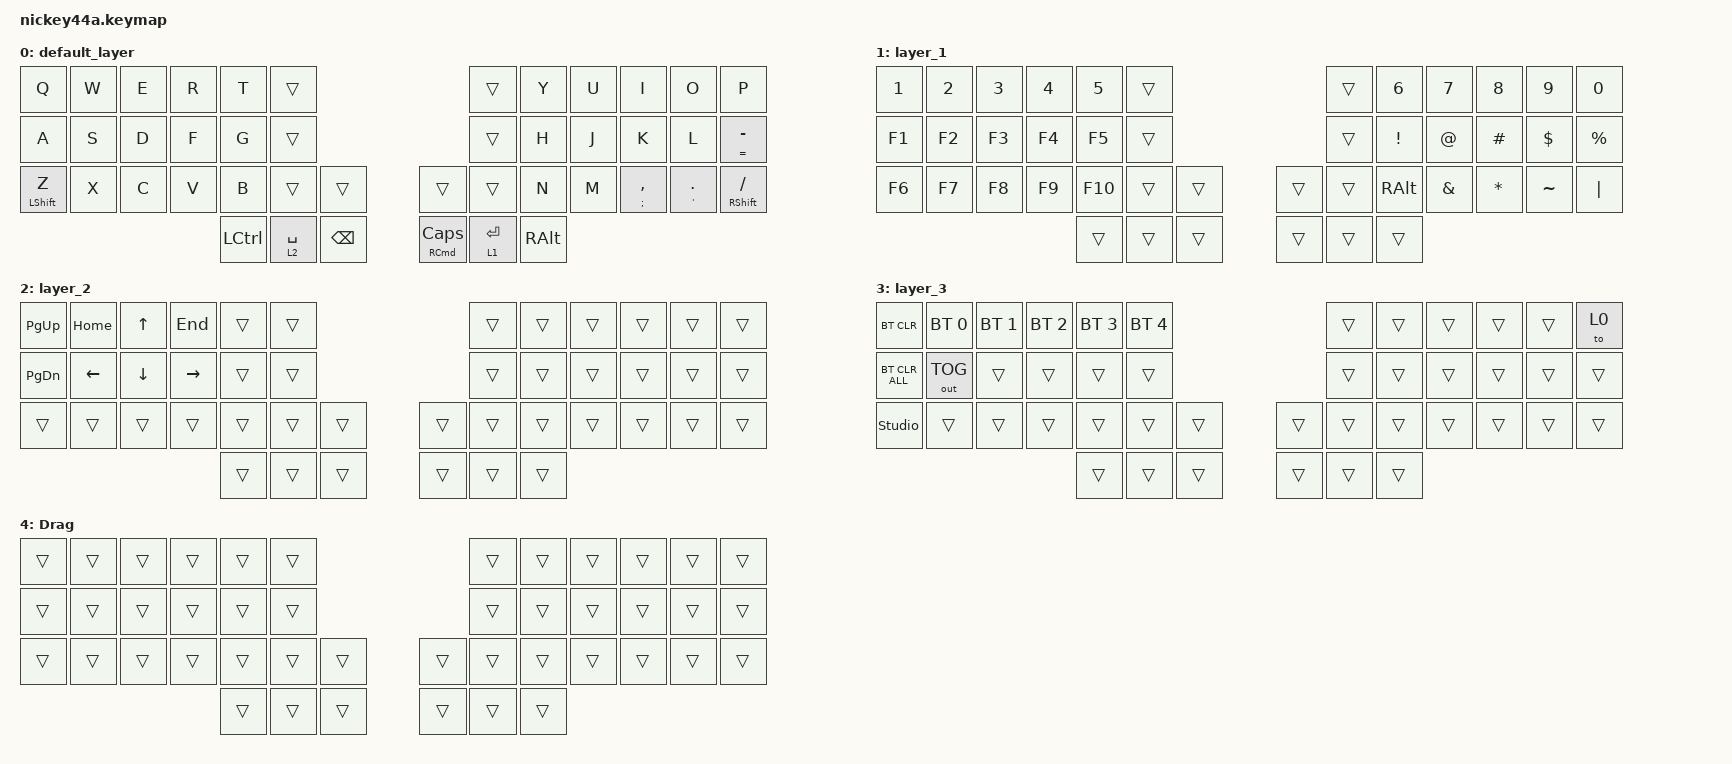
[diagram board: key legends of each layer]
#include <behaviors.dtsi>
#include <dt-bindings/zmk/bt.h>
#include <dt-bindings/zmk/keys.h>
#include <dt-bindings/zmk/outputs.h>

&mt {
    flavor = "balanced";
    quick-tap-ms = <0>;
};

&lt {
    quick-tap-ms = <300>;
    flavor = "balanced";
};

/ {
    combos {
        compatible = "zmk,combos";

        combo_esc {
            bindings = <&kp ESCAPE>;
            key-positions = <0 1>;
        };

        combo_tab {
            bindings = <&kp TAB>;
            key-positions = <12 13>;
        };

        left_p {
            bindings = <&kp LEFT_PARENTHESIS>;
            key-positions = <14 15>;
        };

        l_d {
            bindings = <&kp LA(LC(D))>;
            key-positions = <24 25>;
        };

        c_d {
            bindings = <&kp LA(LC(F))>;
            key-positions = <25 26>;
        };

        r_d {
            bindings = <&kp LA(LC(G))>;
            key-positions = <26 27>;
        };

        f_d {
            bindings = <&kp LA(LC(ENTER))>;
            key-positions = <27 28>;
        };

        cap_1 {
            bindings = <&kp RS(RG(NUMBER_4))>;
            key-positions = <37 36>;
        };

        r_d2 {
            bindings = <&kp LA(LC(T))>;
            key-positions = <10 11>;
        };

        system {
            bindings = <&to 3>;
            key-positions = <38 39 40>;
        };

        right_p {
            bindings = <&kp RIGHT_PARENTHESIS>;
            key-positions = <15 16>;
        };

        /* Y + H + N + Right Alt: right half (central) enters the bootloader. */
        boot_right {
            bindings = <&bootloader>;
            key-positions = <7 19 33 43>;
            timeout-ms = <80>;
        };

        /* T + G + B + Left Ctrl: left half (peripheral) enters the bootloader. */
        boot_left_combo {
            bindings = <&boot_left>;
            key-positions = <4 16 28 38>;
            timeout-ms = <80>;
        };
    };

    macros {
        to_layer_0: to_layer_0 {
            compatible = "zmk,behavior-macro-one-param";
            #binding-cells = <1>;
            bindings = <&to 0 &macro_param_1to1 &kp MACRO_PLACEHOLDER>;
            label = "TO_LAYER_0";
        };

        mission: mission {
            compatible = "zmk,behavior-macro";
            #binding-cells = <0>;
            bindings = <&kp LC(UP_ARROW)>;
            label = "MISSION";
        };

        launch: launch {
            compatible = "zmk,behavior-macro";
            #binding-cells = <0>;
            bindings = <&kp LG(L)>;
            label = "LAUNCH";
        };
    };

    behaviors {
        /*
         * Combos always run on the central (right), so a plain &bootloader
         * there would reset the right half. This sends it to the left
         * peripheral (index 0) instead; the left must be connected.
         */
        boot_left: boot_left {
            compatible = "zmk,behavior-peripheral-invoke";
            #binding-cells = <0>;
            bindings = <&bootloader>;
            peripheral = <0>;
            display-name = "Bootloader (left)";
        };

        lt_to_layer_0: lt_to_layer_0 {
            compatible = "zmk,behavior-hold-tap";
            label = "LAYER_TAP_TO_0";
            bindings = <&mo>, <&to_layer_0>;

            #binding-cells = <2>;
            tapping-term-ms = <200>;
        };
    };

    keymap {
        compatible = "zmk,keymap";

        default_layer {
            bindings = <
&kp Q        &kp W  &kp E  &kp R  &kp T      &trans                                                    &trans       &kp Y          &kp U  &kp I                &kp O                    &kp P
&kp A        &kp S  &kp D  &kp F  &kp G      &trans                                                    &trans       &kp H          &kp J  &kp K                &kp L                    &mt EQUAL MINUS
&mt LSHFT Z  &kp X  &kp C  &kp V  &kp B      &trans       &trans           &trans                      &trans       &kp N          &kp M  &mt SEMICOLON COMMA  &mt SINGLE_QUOTE PERIOD  &mt RIGHT_SHIFT SLASH
                                  &kp LCTRL  &lt 2 SPACE  &kp BACKSPACE    &mt RIGHT_COMMAND CAPSLOCK  &lt 1 ENTER  &kp RIGHT_ALT
            >;
        };

        layer_1 {
            bindings = <
&kp NUMBER_1  &kp NUMBER_2  &kp NUMBER_3  &kp NUMBER_4  &kp N5   &trans                    &trans  &kp NUMBER_6     &kp N7         &kp N8        &kp N9      &kp N0
&kp F1        &kp F2        &kp F3        &kp F4        &kp F5   &trans                    &trans  &kp EXCLAMATION  &kp AT_SIGN    &kp HASH      &kp DOLLAR  &kp PERCENT
&kp F6        &kp F7        &kp F8        &kp F9        &kp F10  &trans  &trans    &trans  &trans  &kp RIGHT_ALT    &kp AMPERSAND  &kp ASTERISK  &kp TILDE   &kp PIPE
                                                        &trans   &trans  &trans    &trans  &trans  &trans
            >;
        };

        layer_2 {
            bindings = <
&kp PG_UP      &kp HOME        &kp UP_ARROW  &kp END    &trans  &trans                    &trans  &trans  &trans  &trans  &trans  &trans
&kp PAGE_DOWN  &kp LEFT_ARROW  &kp DOWN      &kp RIGHT  &trans  &trans                    &trans  &trans  &trans  &trans  &trans  &trans
&trans         &trans          &trans        &trans     &trans  &trans  &trans    &trans  &trans  &trans  &trans  &trans  &trans  &trans
                                                        &trans  &trans  &trans    &trans  &trans  &trans
            >;
        };

        /*
         * System layer, entered with the three left thumb keys (&to 3).
         * P position (&to 0) leaves it; S position toggles USB/BLE output.
         */
        layer_3 {
            bindings = <
&bt BT_CLR      &bt BT_SEL 0  &bt BT_SEL 1  &bt BT_SEL 2  &bt BT_SEL 3  &bt BT_SEL 4                    &trans  &trans  &trans  &trans  &trans  &to 0
&bt BT_CLR_ALL  &out OUT_TOG  &trans        &trans        &trans        &trans                          &trans  &trans  &trans  &trans  &trans  &trans
&studio_unlock  &trans        &trans        &trans        &trans        &trans        &trans    &trans  &trans  &trans  &trans  &trans  &trans  &trans
                                                          &trans        &trans        &trans    &trans  &trans  &trans
            >;
        };

        drag_layer {
            display-name = "Drag";
            bindings = <
&trans  &trans  &trans  &trans  &trans  &trans                    &trans  &trans  &trans  &trans  &trans  &trans
&trans  &trans  &trans  &trans  &trans  &trans                    &trans  &trans  &trans  &trans  &trans  &trans
&trans  &trans  &trans  &trans  &trans  &trans  &trans    &trans  &trans  &trans  &trans  &trans  &trans  &trans
                                &trans  &trans  &trans    &trans  &trans  &trans
            >;
        };
    };
};
